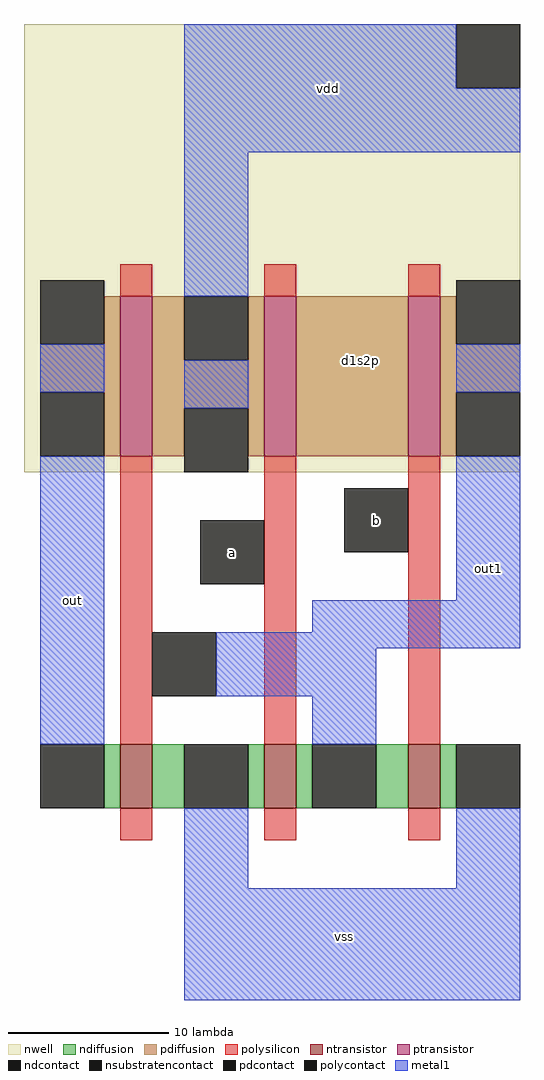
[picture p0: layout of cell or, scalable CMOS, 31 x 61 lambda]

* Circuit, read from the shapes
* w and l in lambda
.subckt or a b d1s2p out out1 vdd vss
M1 vss out1 out VSUBS nfet w=4 l=2
M2 out1 a vss VSUBS nfet w=4 l=2
M3 vss b out1 VSUBS nfet w=4 l=2
M4 vdd out1 out vdd pfet w=10 l=2
M5 d1s2p a vdd vdd pfet w=10 l=2
M6 out1 b d1s2p vdd pfet w=10 l=2
.ends

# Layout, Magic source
magic
tech scmos
<< nwell >>
rect -18 14 13 42
<< polysilicon >>
rect -12 25 -10 27
rect -3 25 -1 27
rect 6 25 8 27
rect -12 -3 -10 15
rect -3 -3 -1 15
rect 6 -3 8 15
rect -12 -9 -10 -7
rect -3 -9 -1 -7
rect 6 -9 8 -7
<< ndiffusion >>
rect -13 -7 -12 -3
rect -10 -7 -8 -3
rect -4 -7 -3 -3
rect -1 -7 0 -3
rect 4 -7 6 -3
rect 8 -7 9 -3
<< pdiffusion >>
rect -13 22 -12 25
rect -17 19 -12 22
rect -13 15 -12 19
rect -10 21 -8 25
rect -4 21 -3 25
rect -10 18 -3 21
rect -10 15 -8 18
rect -4 15 -3 18
rect -1 15 6 25
rect 8 22 9 25
rect 8 19 13 22
rect 8 15 9 19
<< metal1 >>
rect -8 38 9 42
rect -8 34 13 38
rect -17 19 -13 22
rect -17 -3 -13 15
rect -8 25 -4 34
rect -8 18 -4 21
rect 9 19 13 22
rect 9 6 13 15
rect 0 4 13 6
rect -6 3 13 4
rect -6 0 4 3
rect 0 -3 4 0
rect -8 -12 -4 -7
rect 9 -12 13 -7
rect -8 -19 13 -12
<< ntransistor >>
rect -12 -7 -10 -3
rect -3 -7 -1 -3
rect 6 -7 8 -3
<< ptransistor >>
rect -12 15 -10 25
rect -3 15 -1 25
rect 6 15 8 25
<< polycontact >>
rect -7 7 -3 11
rect -10 0 -6 4
rect 2 9 6 13
<< ndcontact >>
rect -17 -7 -13 -3
rect -8 -7 -4 -3
rect 0 -7 4 -3
rect 9 -7 13 -3
<< pdcontact >>
rect -17 22 -13 26
rect -17 15 -13 19
rect -8 21 -4 25
rect -8 14 -4 18
rect 9 22 13 26
rect 9 15 13 19
<< nsubstratencontact >>
rect 9 38 13 42
<< labels >>
rlabel metal1 2 -15 2 -15 1 vss
rlabel metal1 1 38 1 38 5 vdd
rlabel polycontact 4 11 4 11 1 b
rlabel pdiffusion 3 21 3 21 1 d1s2p
rlabel polycontact -5 9 -5 9 1 a
rlabel metal1 -15 6 -15 6 3 out
rlabel metal1 11 8 11 8 7 out1
<< end >>
